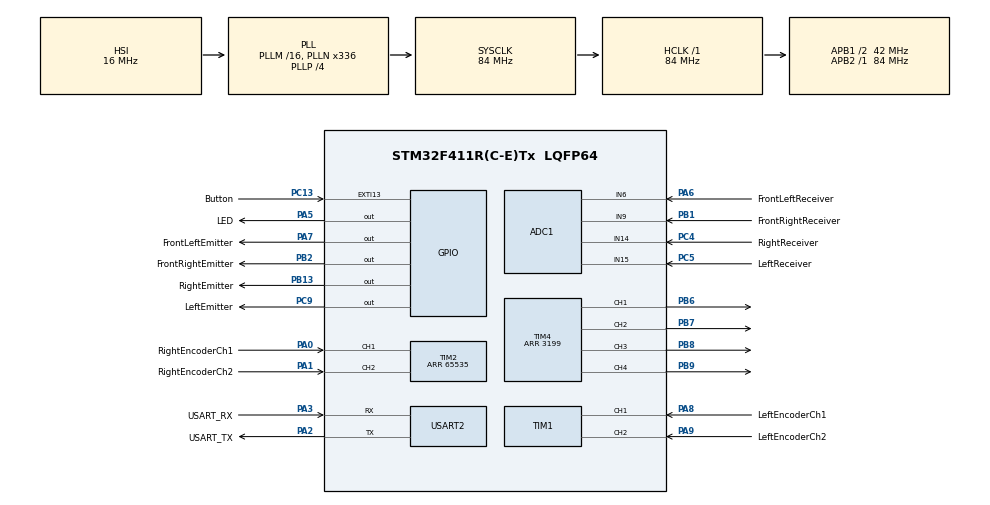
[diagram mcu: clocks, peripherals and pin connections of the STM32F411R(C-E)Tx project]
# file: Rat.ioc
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ADC1.Channel-0\#ChannelRegularConversion=ADC_CHANNEL_15
ADC1.ContinuousConvMode=ENABLE
ADC1.DMAContinuousRequests=ENABLE
ADC1.NbrOfConversionFlag=1
ADC1.Rank-0\#ChannelRegularConversion=1
ADC1.SamplingTime-0\#ChannelRegularConversion=ADC_SAMPLETIME_3CYCLES
ADC1.master=1
Dma.ADC1.0.Direction=DMA_PERIPH_TO_MEMORY
Dma.ADC1.0.FIFOMode=DMA_FIFOMODE_DISABLE
Dma.ADC1.0.Instance=DMA2_Stream0
Dma.ADC1.0.MemDataAlignment=DMA_MDATAALIGN_HALFWORD
Dma.ADC1.0.MemInc=DMA_MINC_ENABLE
Dma.ADC1.0.Mode=DMA_CIRCULAR
Dma.ADC1.0.PeriphDataAlignment=DMA_PDATAALIGN_HALFWORD
Dma.ADC1.0.PeriphInc=DMA_PINC_DISABLE
Dma.ADC1.0.Priority=DMA_PRIORITY_LOW
Dma.Request0=ADC1
Mcu.Family=STM32F4
Mcu.Name=STM32F411R(C-E)Tx
Mcu.Package=LQFP64
NVIC.DMA2_Stream0_IRQn=true\:0\:0\:false\:false\:true\:false\:true\:true
NVIC.EXTI15_10_IRQn=true\:0\:0\:false\:false\:true\:true\:true\:true
NVIC.PriorityGroup=NVIC_PRIORITYGROUP_0
NVIC.TIM4_IRQn=true\:0\:0\:false\:false\:true\:true\:true\:true
PA0-WKUP.GPIO_Label=RightEncoderCh1
PA0-WKUP.Signal=S_TIM2_CH1_ETR
PA1.GPIO_Label=RightEncoderCh2
PA1.Signal=S_TIM2_CH2
PA13.GPIO_Label=TMS
PA13.Mode=Serial_Wire
PA13.Signal=SYS_JTMS-SWDIO
PA14.GPIO_Label=TCK
PA14.Mode=Serial_Wire
PA14.Signal=SYS_JTCK-SWCLK
PA2.GPIO_Label=USART_TX
PA2.Mode=Asynchronous
PA2.Signal=USART2_TX
PA3.GPIO_Label=USART_RX
PA3.Mode=Asynchronous
PA3.Signal=USART2_RX
PA5.GPIO_Label=LED
PA5.Signal=GPIO_Output
PA6.GPIO_Label=FrontLeftReceiver
PA6.Signal=ADCx_IN6
PA7.GPIO_Label=FrontLeftEmitter
PA7.Signal=GPIO_Output
PA8.GPIO_Label=LeftEncoderCh1
PA8.Signal=S_TIM1_CH1
PA9.GPIO_Label=LeftEncoderCh2
PA9.Signal=S_TIM1_CH2
PB1.GPIO_Label=FrontRightReceiver
PB1.Signal=ADCx_IN9
PB13.GPIO_Label=RightEmitter
PB13.Signal=GPIO_Output
PB2.GPIO_Label=FrontRightEmitter
PB2.Signal=GPIO_Output
PB3.GPIO_Label=SWO
PB3.Signal=SYS_JTDO-SWO
PB6.Signal=S_TIM4_CH1
PB7.Signal=S_TIM4_CH2
PB8.Signal=S_TIM4_CH3
PB9.Signal=S_TIM4_CH4
PC13-ANTI_TAMP.GPIO_Label=Button
PC13-ANTI_TAMP.GPIO_ModeDefaultEXTI=GPIO_MODE_IT_RISING_FALLING
PC13-ANTI_TAMP.Signal=GPXTI13
PC14-OSC32_IN.Mode=LSE-External-Oscillator
PC14-OSC32_IN.Signal=RCC_OSC32_IN
PC15-OSC32_OUT.Mode=LSE-External-Oscillator
PC15-OSC32_OUT.Signal=RCC_OSC32_OUT
PC4.GPIO_Label=RightReceiver
PC4.Signal=ADCx_IN14
PC5.GPIO_Label=LeftReceiver
PC5.Signal=ADCx_IN15
PC9.GPIO_Label=LeftEmitter
PC9.Signal=GPIO_Output
PH0\ -\ OSC_IN.Mode=HSE-External-Clock-Source
PH0\ -\ OSC_IN.Signal=RCC_OSC_IN
PH1\ -\ OSC_OUT.Mode=HSE-External-Clock-Source
PH1\ -\ OSC_OUT.Signal=RCC_OSC_OUT
ProjectManager.HeapSize=0x200
ProjectManager.StackSize=0x400
ProjectManager.TargetToolchain=STM32CubeIDE
RCC.48MHZClocksFreq_Value=84000000
RCC.AHBFreq_Value=84000000
RCC.APB1CLKDivider=RCC_HCLK_DIV2
RCC.APB1Freq_Value=42000000
RCC.APB1TimFreq_Value=84000000
RCC.APB2Freq_Value=84000000
RCC.APB2TimFreq_Value=84000000
RCC.CortexFreq_Value=84000000
RCC.FLatency-AdvancedSettings=FLASH_LATENCY_2
RCC.HCLKFreq_Value=84000000
RCC.HSE_VALUE=8000000
RCC.HSI_VALUE=16000000
RCC.PLLN=336
RCC.PLLP=RCC_PLLP_DIV4
RCC.SYSCLKFreq_VALUE=84000000
RCC.SYSCLKSource=RCC_SYSCLKSOURCE_PLLCLK
RCC.VCOOutputFreq_Value=336000000
SH.ADCx_IN14.0=ADC1_IN14,IN14
SH.ADCx_IN15.0=ADC1_IN15,IN15
SH.ADCx_IN6.0=ADC1_IN6,IN6
SH.ADCx_IN9.0=ADC1_IN9,IN9
SH.S_TIM1_CH1.0=TIM1_CH1,Encoder_Interface
SH.S_TIM1_CH2.0=TIM1_CH2,Encoder_Interface
SH.S_TIM2_CH1_ETR.0=TIM2_CH1,Encoder_Interface
SH.S_TIM2_CH2.0=TIM2_CH2,Encoder_Interface
SH.S_TIM4_CH1.0=TIM4_CH1,PWM Generation1 CH1
SH.S_TIM4_CH2.0=TIM4_CH2,PWM Generation2 CH2
SH.S_TIM4_CH3.0=TIM4_CH3,PWM Generation3 CH3
SH.S_TIM4_CH4.0=TIM4_CH4,PWM Generation4 CH4
TIM1.EncoderMode=TIM_ENCODERMODE_TI12
TIM2.EncoderMode=TIM_ENCODERMODE_TI12
TIM2.Period=65535
TIM4.Channel-PWM\ Generation1\ CH1=TIM_CHANNEL_1
TIM4.Channel-PWM\ Generation2\ CH2=TIM_CHANNEL_2
TIM4.Channel-PWM\ Generation3\ CH3=TIM_CHANNEL_3
TIM4.Channel-PWM\ Generation4\ CH4=TIM_CHANNEL_4
TIM4.Period=3199
USART2.VirtualMode=VM_ASYNC
board=NUCLEO-F411RE

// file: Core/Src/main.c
/* USER CODE BEGIN Header */
/**
  ******************************************************************************
  * @file           : main.c
  * @brief          : Main program body
  ******************************************************************************
  * @attention
  *
  * Copyright (c) 2023 STMicroelectronics.
  * All rights reserved.
  *
  * This software is licensed under terms that can be found in the LICENSE file
  * in the root directory of this software component.
  * If no LICENSE file comes with this software, it is provided AS-IS.
  *
  ******************************************************************************
  */
/* USER CODE END Header */
#include "main.h"

/* USER CODE BEGIN Includes */
#include "motors.h"
#include "encoders.h"
#include "delay.h"
#include "irs.h"
#include "controller.h"
/* USER CODE END Includes */

ADC_HandleTypeDef hadc1;
DMA_HandleTypeDef hdma_adc1;

TIM_HandleTypeDef htim1;
TIM_HandleTypeDef htim2;
TIM_HandleTypeDef htim4;

UART_HandleTypeDef huart2;

/* USER CODE BEGIN PV */
int16_t left_counts = 0;
int16_t right_counts = 0;
int16_t wall_dist_front = 0;
int16_t wall_dist_right = 0;
int16_t wall_dist_left = 0;

const int WALL_THRES_FRONT = 1000;
const int WALL_THRES_SIDE = 2520;
const int WALL_THRES_TURN = 400;
const int TURNCT = 490;
const int ERROR_CORR_TURNCT = 25;

/* USER CODE END PV */

void SystemClock_Config(void);
static void MX_GPIO_Init(void);
static void MX_DMA_Init(void);
static void MX_USART2_UART_Init(void);
static void MX_TIM1_Init(void);
static void MX_TIM2_Init(void);
static void MX_TIM4_Init(void);
static void MX_ADC1_Init(void);

uint16_t findMax(uint16_t s1, uint16_t s2){
	if (s1>s2)
		return s1;
	return s2;
}

int main(void)
{

  /* MCU Configuration--------------------------------------------------------*/

  /* Reset of all peripherals, Initializes the Flash interface and the Systick. */
  HAL_Init();

  /* USER CODE BEGIN Init */
  Delay_Init();
  /* USER CODE END Init */

  /* Configure the system clock */
  SystemClock_Config();

  /* Initialize all configured peripherals */
  MX_GPIO_Init();
  MX_DMA_Init();
  MX_USART2_UART_Init();
  MX_TIM1_Init();
  MX_TIM2_Init();
  MX_TIM4_Init();
  MX_ADC1_Init();
  /* USER CODE BEGIN 2 */
  HAL_TIM_Encoder_Start(&htim1, TIM_CHANNEL_ALL);
  HAL_TIM_Encoder_Start(&htim2, TIM_CHANNEL_ALL);
  HAL_TIM_PWM_Start(&htim4, TIM_CHANNEL_1);
  HAL_TIM_PWM_Start(&htim4, TIM_CHANNEL_2);
  HAL_TIM_PWM_Start(&htim4, TIM_CHANNEL_3);
  HAL_TIM_PWM_Start(&htim4, TIM_CHANNEL_4);
  /* USER CODE END 2 */

  /* Infinite loop */
  /* USER CODE BEGIN WHILE */

	//turn(-4);

  while (1)
  {

	  wall_dist_front = ((readIR(IR_FRONT_LEFT)+readIR(IR_FRONT_RIGHT)))/2;
	  //wall_dist_right = readIR(IR_RIGHT);
	  //wall_dist_left = readIR(IR_LEFT);
	  while(wall_dist_front < WALL_THRES_FRONT){
		  //moveAndTurn(1,0);
		  move(0.5); //go straight if there is no wall in front of you.
		  wall_dist_front = ((readIR(IR_FRONT_LEFT)+readIR(IR_FRONT_RIGHT)))/2;
		  wall_dist_right = readIR(IR_RIGHT);
		  wall_dist_left = readIR(IR_LEFT);
		  while (wall_dist_right > WALL_THRES_SIDE) {
			  turn(-(wall_dist_right - WALL_THRES_SIDE) * 0.1); //this is arbitrary value still
			  // moveAndTurn(1,-ERROR_CORR_TURNCT);
			  	move(0.1);
			wall_dist_front = ((readIR(IR_FRONT_LEFT)+readIR(IR_FRONT_RIGHT)))/2;
			  if (wall_dist_front > WALL_THRES_FRONT ) {
				  move(-0.15);
			  }
			  wall_dist_right = readIR(IR_RIGHT);
		  }
		  while(wall_dist_left > WALL_THRES_SIDE){
			  turn((wall_dist_left - WALL_THRES_SIDE) * 0.1);
			  //moveAndTurn(1,ERROR_CORR_TURNCT);
			  move(0.1);
			  wall_dist_front = ((readIR(IR_FRONT_LEFT)+readIR(IR_FRONT_RIGHT)))/2;
			  if (wall_dist_front > WALL_THRES_FRONT) {
			 				  move(-0.15);
			 			  }
			  wall_dist_left = readIR(IR_LEFT);

		  }

	  }
	  if(readIR(IR_LEFT)<WALL_THRES_TURN){ //no wall to the left
		  turn(-TURNCT);
		  //moveAndTurn(1,-TURNCT);
		  //move(1);//Optional to comment move(1);
		  continue;
	  }
	  else{
		  turn(TURNCT);
		  //moveAndTurn(1,TURNCT);
		  //move(1); //Optional to comment move(1);
		  continue;
	  }

    /* USER CODE END WHILE */

  }
}

void SystemClock_Config(void)
{
  RCC_OscInitTypeDef RCC_OscInitStruct = {0};
  RCC_ClkInitTypeDef RCC_ClkInitStruct = {0};

  /** Configure the main internal regulator output voltage
  */
  __HAL_RCC_PWR_CLK_ENABLE();
  __HAL_PWR_VOLTAGESCALING_CONFIG(PWR_REGULATOR_VOLTAGE_SCALE1);

  /** Initializes the RCC Oscillators according to the specified parameters
  * in the RCC_OscInitTypeDef structure.
  */
  RCC_OscInitStruct.OscillatorType = RCC_OSCILLATORTYPE_HSI;
  RCC_OscInitStruct.HSIState = RCC_HSI_ON;
  RCC_OscInitStruct.HSICalibrationValue = RCC_HSICALIBRATION_DEFAULT;
  RCC_OscInitStruct.PLL.PLLState = RCC_PLL_ON;
  RCC_OscInitStruct.PLL.PLLSource = RCC_PLLSOURCE_HSI;
  RCC_OscInitStruct.PLL.PLLM = 16;
  RCC_OscInitStruct.PLL.PLLN = 336;
  RCC_OscInitStruct.PLL.PLLP = RCC_PLLP_DIV4;
  RCC_OscInitStruct.PLL.PLLQ = 4;
  if (HAL_RCC_OscConfig(&RCC_OscInitStruct) != HAL_OK)
  {
    Error_Handler();
  }

  /** Initializes the CPU, AHB and APB buses clocks
  */
  RCC_ClkInitStruct.ClockType = RCC_CLOCKTYPE_HCLK|RCC_CLOCKTYPE_SYSCLK
                              |RCC_CLOCKTYPE_PCLK1|RCC_CLOCKTYPE_PCLK2;
  RCC_ClkInitStruct.SYSCLKSource = RCC_SYSCLKSOURCE_PLLCLK;
  RCC_ClkInitStruct.AHBCLKDivider = RCC_SYSCLK_DIV1;
  RCC_ClkInitStruct.APB1CLKDivider = RCC_HCLK_DIV2;
  RCC_ClkInitStruct.APB2CLKDivider = RCC_HCLK_DIV1;

  if (HAL_RCC_ClockConfig(&RCC_ClkInitStruct, FLASH_LATENCY_2) != HAL_OK)
  {
    Error_Handler();
  }
}

static void MX_ADC1_Init(void)
{

  ADC_ChannelConfTypeDef sConfig = {0};

  /** Configure the global features of the ADC (Clock, Resolution, Data Alignment and number of conversion)
  */
  hadc1.Instance = ADC1;
  hadc1.Init.ClockPrescaler = ADC_CLOCK_SYNC_PCLK_DIV4;
  hadc1.Init.Resolution = ADC_RESOLUTION_12B;
  hadc1.Init.ScanConvMode = DISABLE;
  hadc1.Init.ContinuousConvMode = ENABLE;
  hadc1.Init.DiscontinuousConvMode = DISABLE;
  hadc1.Init.ExternalTrigConvEdge = ADC_EXTERNALTRIGCONVEDGE_NONE;
  hadc1.Init.ExternalTrigConv = ADC_SOFTWARE_START;
  hadc1.Init.DataAlign = ADC_DATAALIGN_RIGHT;
  hadc1.Init.NbrOfConversion = 1;
  hadc1.Init.DMAContinuousRequests = ENABLE;
  hadc1.Init.EOCSelection = ADC_EOC_SINGLE_CONV;
  if (HAL_ADC_Init(&hadc1) != HAL_OK)
  {
    Error_Handler();
  }

  /** Configure for the selected ADC regular channel its corresponding rank in the sequencer and its sample time.
  */
  sConfig.Channel = ADC_CHANNEL_15;
  sConfig.Rank = 1;
  sConfig.SamplingTime = ADC_SAMPLETIME_3CYCLES;
  if (HAL_ADC_ConfigChannel(&hadc1, &sConfig) != HAL_OK)
  {
    Error_Handler();
  }

}

static void MX_TIM1_Init(void)
{

  TIM_Encoder_InitTypeDef sConfig = {0};
  TIM_MasterConfigTypeDef sMasterConfig = {0};

  htim1.Instance = TIM1;
  htim1.Init.Prescaler = 0;
  htim1.Init.CounterMode = TIM_COUNTERMODE_UP;
  htim1.Init.Period = 65535;
  htim1.Init.ClockDivision = TIM_CLOCKDIVISION_DIV1;
  htim1.Init.RepetitionCounter = 0;
  htim1.Init.AutoReloadPreload = TIM_AUTORELOAD_PRELOAD_DISABLE;
  sConfig.EncoderMode = TIM_ENCODERMODE_TI12;
  sConfig.IC1Polarity = TIM_ICPOLARITY_RISING;
  sConfig.IC1Selection = TIM_ICSELECTION_DIRECTTI;
  sConfig.IC1Prescaler = TIM_ICPSC_DIV1;
  sConfig.IC1Filter = 0;
  sConfig.IC2Polarity = TIM_ICPOLARITY_RISING;
  sConfig.IC2Selection = TIM_ICSELECTION_DIRECTTI;
  sConfig.IC2Prescaler = TIM_ICPSC_DIV1;
  sConfig.IC2Filter = 0;
  if (HAL_TIM_Encoder_Init(&htim1, &sConfig) != HAL_OK)
  {
    Error_Handler();
  }
  sMasterConfig.MasterOutputTrigger = TIM_TRGO_RESET;
  sMasterConfig.MasterSlaveMode = TIM_MASTERSLAVEMODE_DISABLE;
  if (HAL_TIMEx_MasterConfigSynchronization(&htim1, &sMasterConfig) != HAL_OK)
  {
    Error_Handler();
  }

}

static void MX_TIM2_Init(void)
{

  TIM_Encoder_InitTypeDef sConfig = {0};
  TIM_MasterConfigTypeDef sMasterConfig = {0};

  htim2.Instance = TIM2;
  htim2.Init.Prescaler = 0;
  htim2.Init.CounterMode = TIM_COUNTERMODE_UP;
  htim2.Init.Period = 65535;
  htim2.Init.ClockDivision = TIM_CLOCKDIVISION_DIV1;
  htim2.Init.AutoReloadPreload = TIM_AUTORELOAD_PRELOAD_DISABLE;
  sConfig.EncoderMode = TIM_ENCODERMODE_TI12;
  sConfig.IC1Polarity = TIM_ICPOLARITY_RISING;
  sConfig.IC1Selection = TIM_ICSELECTION_DIRECTTI;
  sConfig.IC1Prescaler = TIM_ICPSC_DIV1;
  sConfig.IC1Filter = 0;
  sConfig.IC2Polarity = TIM_ICPOLARITY_RISING;
  sConfig.IC2Selection = TIM_ICSELECTION_DIRECTTI;
  sConfig.IC2Prescaler = TIM_ICPSC_DIV1;
  sConfig.IC2Filter = 0;
  if (HAL_TIM_Encoder_Init(&htim2, &sConfig) != HAL_OK)
  {
    Error_Handler();
  }
  sMasterConfig.MasterOutputTrigger = TIM_TRGO_RESET;
  sMasterConfig.MasterSlaveMode = TIM_MASTERSLAVEMODE_DISABLE;
  if (HAL_TIMEx_MasterConfigSynchronization(&htim2, &sMasterConfig) != HAL_OK)
  {
    Error_Handler();
  }

}

static void MX_TIM4_Init(void)
{

  TIM_MasterConfigTypeDef sMasterConfig = {0};
  TIM_OC_InitTypeDef sConfigOC = {0};

  htim4.Instance = TIM4;
  htim4.Init.Prescaler = 0;
  htim4.Init.CounterMode = TIM_COUNTERMODE_UP;
  htim4.Init.Period = 3199;
  htim4.Init.ClockDivision = TIM_CLOCKDIVISION_DIV1;
  htim4.Init.AutoReloadPreload = TIM_AUTORELOAD_PRELOAD_DISABLE;
  if (HAL_TIM_PWM_Init(&htim4) != HAL_OK)
  {
    Error_Handler();
  }
  sMasterConfig.MasterOutputTrigger = TIM_TRGO_RESET;
  sMasterConfig.MasterSlaveMode = TIM_MASTERSLAVEMODE_DISABLE;
  if (HAL_TIMEx_MasterConfigSynchronization(&htim4, &sMasterConfig) != HAL_OK)
  {
    Error_Handler();
  }
  sConfigOC.OCMode = TIM_OCMODE_PWM1;
  sConfigOC.Pulse = 0;
  sConfigOC.OCPolarity = TIM_OCPOLARITY_HIGH;
  sConfigOC.OCFastMode = TIM_OCFAST_DISABLE;
  if (HAL_TIM_PWM_ConfigChannel(&htim4, &sConfigOC, TIM_CHANNEL_1) != HAL_OK)
  {
    Error_Handler();
  }
  if (HAL_TIM_PWM_ConfigChannel(&htim4, &sConfigOC, TIM_CHANNEL_2) != HAL_OK)
  {
    Error_Handler();
  }
  if (HAL_TIM_PWM_ConfigChannel(&htim4, &sConfigOC, TIM_CHANNEL_3) != HAL_OK)
  {
    Error_Handler();
  }
  if (HAL_TIM_PWM_ConfigChannel(&htim4, &sConfigOC, TIM_CHANNEL_4) != HAL_OK)
  {
    Error_Handler();
  }
  HAL_TIM_MspPostInit(&htim4);

}

static void MX_USART2_UART_Init(void)
{

  huart2.Instance = USART2;
  huart2.Init.BaudRate = 115200;
  huart2.Init.WordLength = UART_WORDLENGTH_8B;
  huart2.Init.StopBits = UART_STOPBITS_1;
  huart2.Init.Parity = UART_PARITY_NONE;
  huart2.Init.Mode = UART_MODE_TX_RX;
  huart2.Init.HwFlowCtl = UART_HWCONTROL_NONE;
  huart2.Init.OverSampling = UART_OVERSAMPLING_16;
  if (HAL_UART_Init(&huart2) != HAL_OK)
  {
    Error_Handler();
  }

}

static void MX_DMA_Init(void)
{

  /* DMA controller clock enable */
  __HAL_RCC_DMA2_CLK_ENABLE();

  /* DMA interrupt init */
  /* DMA2_Stream0_IRQn interrupt configuration */
  HAL_NVIC_SetPriority(DMA2_Stream0_IRQn, 0, 0);
  HAL_NVIC_EnableIRQ(DMA2_Stream0_IRQn);

}

static void MX_GPIO_Init(void)
{
  GPIO_InitTypeDef GPIO_InitStruct = {0};

  /* GPIO Ports Clock Enable */
  __HAL_RCC_GPIOC_CLK_ENABLE();
  __HAL_RCC_GPIOH_CLK_ENABLE();
  __HAL_RCC_GPIOA_CLK_ENABLE();
  __HAL_RCC_GPIOB_CLK_ENABLE();

  /*Configure GPIO pin Output Level */
  HAL_GPIO_WritePin(GPIOA, LED_Pin|FrontLeftEmitter_Pin, GPIO_PIN_RESET);

  /*Configure GPIO pin Output Level */
  HAL_GPIO_WritePin(GPIOB, FrontRightEmitter_Pin|RightEmitter_Pin, GPIO_PIN_RESET);

  /*Configure GPIO pin Output Level */
  HAL_GPIO_WritePin(LeftEmitter_GPIO_Port, LeftEmitter_Pin, GPIO_PIN_RESET);

  /*Configure GPIO pin : Button_Pin */
  GPIO_InitStruct.Pin = Button_Pin;
  GPIO_InitStruct.Mode = GPIO_MODE_IT_RISING_FALLING;
  GPIO_InitStruct.Pull = GPIO_NOPULL;
  HAL_GPIO_Init(Button_GPIO_Port, &GPIO_InitStruct);

  /*Configure GPIO pins : LED_Pin FrontLeftEmitter_Pin */
  GPIO_InitStruct.Pin = LED_Pin|FrontLeftEmitter_Pin;
  GPIO_InitStruct.Mode = GPIO_MODE_OUTPUT_PP;
  GPIO_InitStruct.Pull = GPIO_NOPULL;
  GPIO_InitStruct.Speed = GPIO_SPEED_FREQ_LOW;
  HAL_GPIO_Init(GPIOA, &GPIO_InitStruct);

  /*Configure GPIO pins : FrontRightEmitter_Pin RightEmitter_Pin */
  GPIO_InitStruct.Pin = FrontRightEmitter_Pin|RightEmitter_Pin;
  GPIO_InitStruct.Mode = GPIO_MODE_OUTPUT_PP;
  GPIO_InitStruct.Pull = GPIO_NOPULL;
  GPIO_InitStruct.Speed = GPIO_SPEED_FREQ_LOW;
  HAL_GPIO_Init(GPIOB, &GPIO_InitStruct);

  /*Configure GPIO pin : LeftEmitter_Pin */
  GPIO_InitStruct.Pin = LeftEmitter_Pin;
  GPIO_InitStruct.Mode = GPIO_MODE_OUTPUT_PP;
  GPIO_InitStruct.Pull = GPIO_NOPULL;
  GPIO_InitStruct.Speed = GPIO_SPEED_FREQ_LOW;
  HAL_GPIO_Init(LeftEmitter_GPIO_Port, &GPIO_InitStruct);

  /* EXTI interrupt init*/
  HAL_NVIC_SetPriority(EXTI15_10_IRQn, 0, 0);
  HAL_NVIC_EnableIRQ(EXTI15_10_IRQn);

}

/* USER CODE BEGIN 4 */
void HAL_GPIO_EXTI_Callback(uint16_t GPIO_PIN)
{
	if (GPIO_PIN == Button_Pin)
	{
		if(HAL_GPIO_ReadPin(Button_GPIO_Port, Button_Pin) == GPIO_PIN_RESET ){ //low value means pressed
			HAL_GPIO_WritePin(LED_GPIO_Port, LED_Pin, GPIO_PIN_SET); //set to high (turn on LED)
		}
		else{
			HAL_GPIO_WritePin(LED_GPIO_Port, LED_Pin, GPIO_PIN_RESET); //set to low (turn off LED)
		}
	}
}
ADC_HandleTypeDef* Get_HADC1_Ptr(void)
{
	return &hadc1;
}
/* USER CODE END 4 */

void Error_Handler(void)
{
  __disable_irq();
  while (1)
  {
  }
}
